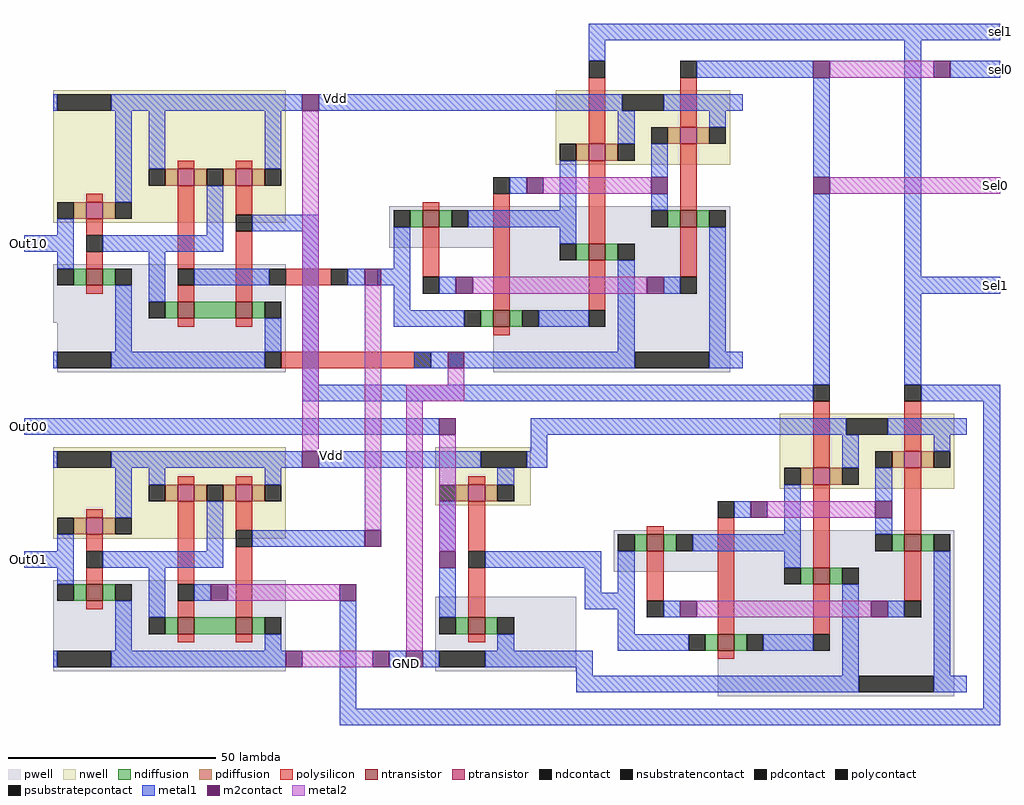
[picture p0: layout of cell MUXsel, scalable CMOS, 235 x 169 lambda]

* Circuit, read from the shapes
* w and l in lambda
.subckt MUXsel GND Out00 Out01 Out10 Sel0 Sel1 Vdd
M1 GND n1 Out01 GND nfet w=4 l=4
M2 GND n2 Out10 GND nfet w=4 l=4
M3 n3 Sel1 n1 GND nfet w=4 l=4
M4 n4 XOR_0/Out n2 GND nfet w=4 l=4
M5 GND XOR_0/Out n3 GND nfet w=4 l=4
M6 GND Sel0 n4 GND nfet w=4 l=4
M7 n5 Sel0 XOR_0/Out GND nfet w=4 l=4
M8 GND XOR_1/Out Out00 GND nfet w=4 l=4
M9 Sel1 n6 XOR_0/Out GND nfet w=4 l=4
M10 GND Sel1 n5 GND nfet w=4 l=4
M11 n7 Sel1 XOR_1/Out GND nfet w=4 l=4
M12 GND Sel0 n6 GND nfet w=4 l=4
M13 Sel0 n8 XOR_1/Out GND nfet w=4 l=4
M14 GND Sel0 n7 GND nfet w=4 l=4
M15 GND Sel1 n8 GND nfet w=4 l=4
M16 Vdd n1 Out01 Vdd pfet w=4 l=4
M17 Vdd n2 Out10 Vdd pfet w=4 l=4
M18 n1 Sel1 Vdd Vdd pfet w=4 l=4
M19 n2 XOR_0/Out Vdd Vdd pfet w=4 l=4
M20 Vdd XOR_0/Out n1 Vdd pfet w=4 l=4
M21 Vdd Sel0 n2 Vdd pfet w=4 l=4
M22 Vdd XOR_1/Out Out00 Vdd pfet w=4 l=4
M23 Vdd Sel1 n5 Vdd pfet w=4 l=4
M24 Vdd Sel0 n6 Vdd pfet w=4 l=4
M25 Vdd Sel0 n7 Vdd pfet w=4 l=4
M26 Vdd Sel1 n8 Vdd pfet w=4 l=4
.ends

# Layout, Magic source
magic
tech scmos
<< pwell >>
rect -150 -113 -94 -99
rect -149 -125 -94 -113
rect -150 -197 -94 -175
rect -58 -197 -24 -179
<< nwell >>
rect -150 -89 -94 -57
rect -150 -165 -94 -143
rect -58 -157 -35 -143
<< polysilicon >>
rect -120 -76 -116 -74
rect -106 -76 -102 -74
rect -142 -84 -138 -82
rect -142 -92 -138 -88
rect -142 -100 -138 -96
rect -120 -100 -116 -80
rect -142 -106 -138 -104
rect -120 -108 -116 -104
rect -106 -87 -102 -80
rect -106 -108 -102 -91
rect -94 -104 -83 -100
rect -120 -114 -116 -112
rect -106 -114 -102 -112
rect -95 -124 -63 -120
rect -120 -152 -116 -150
rect -106 -152 -102 -150
rect -50 -152 -46 -150
rect -142 -160 -138 -158
rect -142 -168 -138 -164
rect -142 -176 -138 -172
rect -120 -176 -116 -156
rect -142 -182 -138 -180
rect -120 -184 -116 -180
rect -106 -163 -102 -156
rect -106 -184 -102 -167
rect -50 -168 -46 -156
rect -50 -184 -46 -172
rect -120 -190 -116 -188
rect -106 -190 -102 -188
rect -50 -190 -46 -188
<< ndiffusion >>
rect -145 -104 -142 -100
rect -138 -104 -135 -100
rect -123 -112 -120 -108
rect -116 -112 -106 -108
rect -102 -112 -99 -108
rect -145 -180 -142 -176
rect -138 -180 -135 -176
rect -123 -188 -120 -184
rect -116 -188 -106 -184
rect -102 -188 -99 -184
rect -53 -188 -50 -184
rect -46 -188 -43 -184
<< pdiffusion >>
rect -123 -80 -120 -76
rect -116 -80 -113 -76
rect -109 -80 -106 -76
rect -102 -80 -99 -76
rect -145 -88 -142 -84
rect -138 -88 -135 -84
rect -123 -156 -120 -152
rect -116 -156 -113 -152
rect -109 -156 -106 -152
rect -102 -156 -99 -152
rect -53 -156 -50 -152
rect -46 -156 -43 -152
rect -145 -164 -142 -160
rect -138 -164 -135 -160
<< metal1 >>
rect -21 -45 78 -41
rect -21 -50 -17 -45
rect 5 -54 33 -50
rect -150 -62 -149 -58
rect -136 -62 -90 -58
rect -86 -62 -63 -58
rect -135 -84 -131 -62
rect -127 -76 -123 -62
rect -99 -76 -95 -62
rect 33 -78 37 -54
rect -149 -92 -145 -88
rect -113 -92 -109 -80
rect -102 -91 -86 -87
rect -157 -96 -145 -92
rect -138 -96 -109 -92
rect -149 -100 -145 -96
rect -135 -120 -131 -104
rect -127 -108 -123 -96
rect -116 -104 -98 -100
rect -99 -120 -95 -112
rect -150 -124 -149 -120
rect -136 -124 -99 -120
rect -90 -128 -86 -91
rect -79 -104 -75 -100
rect 33 -128 37 -82
rect -90 -132 33 -128
rect 55 -102 59 -45
rect 66 -54 78 -50
rect 55 -106 78 -102
rect 55 -128 59 -106
rect 59 -132 78 -128
rect -157 -140 -57 -136
rect -35 -140 -9 -136
rect -35 -144 -31 -140
rect -150 -148 -149 -144
rect -136 -148 -90 -144
rect -86 -148 -47 -144
rect -36 -148 -31 -144
rect -135 -160 -131 -148
rect -127 -152 -123 -148
rect -99 -152 -95 -148
rect -43 -152 -39 -148
rect -149 -168 -145 -164
rect -113 -168 -109 -156
rect -102 -167 -75 -163
rect -157 -172 -145 -168
rect -138 -172 -109 -168
rect -57 -168 -53 -156
rect -46 -172 -18 -168
rect -149 -176 -145 -172
rect -135 -192 -131 -180
rect -127 -184 -123 -172
rect -116 -180 -112 -176
rect -99 -192 -95 -188
rect -150 -196 -149 -192
rect -136 -196 -94 -192
rect -81 -206 -77 -180
rect -57 -184 -53 -172
rect -22 -182 -18 -172
rect -43 -192 -39 -188
rect -69 -196 -65 -192
rect -61 -196 -57 -192
rect -46 -196 -20 -192
rect -24 -198 -20 -196
rect -24 -202 -9 -198
rect 74 -206 78 -132
rect -81 -210 78 -206
<< metal2 >>
rect 37 -54 62 -50
rect -90 -144 -86 -62
rect 37 -82 78 -78
rect -75 -163 -71 -104
rect -55 -128 -51 -124
rect -65 -132 -51 -128
rect -108 -180 -81 -176
rect -65 -192 -61 -132
rect -57 -168 -53 -140
rect -90 -196 -73 -192
<< ntransistor >>
rect -142 -104 -138 -100
rect -120 -112 -116 -108
rect -106 -112 -102 -108
rect -142 -180 -138 -176
rect -120 -188 -116 -184
rect -106 -188 -102 -184
rect -50 -188 -46 -184
<< ptransistor >>
rect -120 -80 -116 -76
rect -106 -80 -102 -76
rect -142 -88 -138 -84
rect -120 -156 -116 -152
rect -106 -156 -102 -152
rect -50 -156 -46 -152
rect -142 -164 -138 -160
<< polycontact >>
rect -21 -54 -17 -50
rect 1 -54 5 -50
rect -142 -96 -138 -92
rect -120 -104 -116 -100
rect -106 -91 -102 -87
rect -98 -104 -94 -100
rect -83 -104 -79 -100
rect -99 -124 -95 -120
rect -63 -124 -59 -120
rect 33 -132 37 -128
rect 55 -132 59 -128
rect -142 -172 -138 -168
rect -120 -180 -116 -176
rect -106 -167 -102 -163
rect -50 -172 -46 -168
<< ndcontact >>
rect -149 -104 -145 -100
rect -135 -104 -131 -100
rect -127 -112 -123 -108
rect -99 -112 -95 -108
rect -149 -180 -145 -176
rect -135 -180 -131 -176
rect -127 -188 -123 -184
rect -99 -188 -95 -184
rect -57 -188 -53 -184
rect -43 -188 -39 -184
<< pdcontact >>
rect -127 -80 -123 -76
rect -113 -80 -109 -76
rect -99 -80 -95 -76
rect -149 -88 -145 -84
rect -135 -88 -131 -84
rect -127 -156 -123 -152
rect -113 -156 -109 -152
rect -99 -156 -95 -152
rect -57 -156 -53 -152
rect -43 -156 -39 -152
rect -149 -164 -145 -160
rect -135 -164 -131 -160
<< m2contact >>
rect 33 -54 37 -50
rect -90 -62 -86 -58
rect 33 -82 37 -78
rect -75 -104 -71 -100
rect -55 -124 -51 -120
rect 62 -54 66 -50
rect -57 -140 -53 -136
rect -90 -148 -86 -144
rect -75 -167 -71 -163
rect -57 -172 -53 -168
rect -112 -180 -108 -176
rect -81 -180 -77 -176
rect -94 -196 -90 -192
rect -73 -196 -69 -192
rect -65 -196 -61 -192
<< psubstratepcontact >>
rect -149 -124 -136 -120
rect -149 -196 -136 -192
rect -57 -196 -46 -192
<< nsubstratencontact >>
rect -149 -62 -136 -58
rect -149 -148 -136 -144
rect -47 -148 -36 -144
use XOR  XOR_0
transform -1 0 -4 0 1 -78
box -20 -47 68 24
use XOR  XOR_1
transform -1 0 50 0 1 -156
box -20 -47 68 24
<< labels >>
rlabel metal1 -156 -138 -156 -138 3 Out00
rlabel metal1 -82 -59 -82 -59 5 Vdd
rlabel metal1 -83 -145 -83 -145 5 Vdd
rlabel metal1 -156 -94 -156 -94 3 Out10
rlabel metal1 -156 -170 -156 -170 3 Out01
rlabel metal1 -65 -195 -65 -195 1 GND
rlabel metal2 77 -80 77 -80 7 Sel0
rlabel metal1 77 -104 77 -104 7 Sel1
rlabel metal1 78 -54 78 -50 7 sel0
rlabel metal1 78 -45 78 -41 6 sel1
<< end >>

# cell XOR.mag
magic
tech scmos
<< pwell >>
rect -17 -17 65 -7
rect -17 -47 40 -17
<< nwell >>
rect -17 3 25 21
<< polysilicon >>
rect -9 12 -5 24
rect 13 8 17 24
rect -9 -8 -5 8
rect -9 -24 -5 -12
rect 13 -16 17 4
rect 13 -32 17 -20
rect 36 -32 40 -4
rect 53 -8 57 -6
rect 53 -24 57 -12
rect 36 -38 40 -36
<< ndiffusion >>
rect -12 -12 -9 -8
rect -5 -12 -2 -8
rect 10 -20 13 -16
rect 17 -20 20 -16
rect 50 -12 53 -8
rect 57 -12 60 -8
rect 33 -36 36 -32
rect 40 -36 43 -32
<< pdiffusion >>
rect -12 8 -9 12
rect -5 8 -2 12
rect 10 4 13 8
rect 17 4 20 8
<< metal1 >>
rect -20 16 -1 20
rect 9 16 59 20
rect -16 12 -12 16
rect -2 0 2 8
rect 6 8 10 16
rect -2 -8 2 -4
rect 20 -8 24 4
rect 32 -4 36 0
rect 20 -12 46 -8
rect -16 -42 -12 -12
rect 20 -16 24 -12
rect -5 -28 -1 -24
rect 6 -42 10 -20
rect 60 -22 64 -12
rect 49 -28 53 -24
rect 60 -26 68 -22
rect 60 -32 64 -26
rect 17 -36 29 -32
rect 47 -36 64 -32
rect -20 -46 -12 -42
rect 6 -46 59 -42
<< metal2 >>
rect 2 -4 28 0
rect 3 -28 45 -24
<< ntransistor >>
rect -9 -12 -5 -8
rect 13 -20 17 -16
rect 53 -12 57 -8
rect 36 -36 40 -32
<< ptransistor >>
rect -9 8 -5 12
rect 13 4 17 8
<< polycontact >>
rect 36 -4 40 0
rect -9 -28 -5 -24
rect 53 -28 57 -24
rect 13 -36 17 -32
<< ndcontact >>
rect -16 -12 -12 -8
rect -2 -12 2 -8
rect 6 -20 10 -16
rect 20 -20 24 -16
rect 46 -12 50 -8
rect 60 -12 64 -8
rect 29 -36 33 -32
rect 43 -36 47 -32
<< pdcontact >>
rect -16 8 -12 12
rect -2 8 2 12
rect 6 4 10 8
rect 20 4 24 8
<< m2contact >>
rect -2 -4 2 0
rect 28 -4 32 0
rect -1 -28 3 -24
rect 45 -28 49 -24
<< psubstratepcontact >>
rect -12 -46 6 -42
<< nsubstratencontact >>
rect -1 16 9 20
<< labels >>
rlabel metal1 23 -45 23 -45 1 GND
rlabel metal1 23 19 23 19 5 Vdd
rlabel polysilicon -7 23 -7 23 5 In1
rlabel polysilicon 15 23 15 23 5 In2
rlabel metal1 67 -24 67 -24 7 Out
<< end >>
